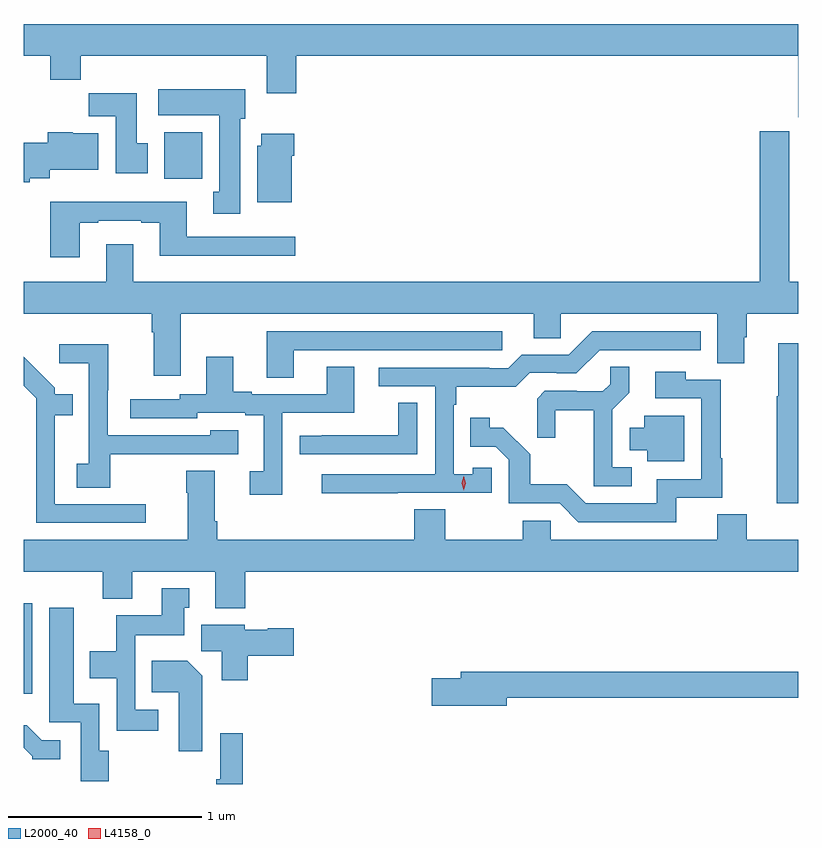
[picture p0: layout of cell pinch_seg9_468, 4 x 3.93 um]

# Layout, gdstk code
import gdstk
lib = gdstk.Library(unit=1e-6, precision=1e-09)
def R(c, l, rs):  # rectangles x0, y0, x1, y1
    for r in rs: c.add(gdstk.rectangle(r[:2], r[2:], *l))
def P(c, l, *ps):  # polygons
    for p in ps: c.add(gdstk.Polygon(p, *l))
L2000_40 = (2000, 40)
L4158_0 = (4158, 0)

pinch_seg9_468 = lib.new_cell('pinch_seg9_468')
R(pinch_seg9_468, L2000_40, [(375.683,1189.128,375.727,1189.597), (376.409,1191.788,376.606,1192.03)])
P(pinch_seg9_468, L2000_40, [(379.683,1192.588),(375.683,1192.588),(375.683,1192.424),(375.821,1192.424),(375.821,1192.3),(375.977,1192.3),(375.977,1192.424),(376.937,1192.424),(376.937,1192.23),(377.09,1192.23),(377.09,1192.424),(379.682,1192.424),(379.682,1192.107),(379.683,1192.107)],
  [(376.801,1192.098),(376.828,1192.098),(376.828,1192.252),(376.377,1192.252),(376.377,1192.118),(376.694,1192.118),(376.694,1191.722),(376.661,1191.722),(376.661,1191.609),(376.801,1191.609)],
  [(376.324,1191.972),(376.267,1191.972),(376.267,1192.231),(376.018,1192.231),(376.018,1192.112),(376.157,1192.112),(376.157,1191.816),(376.324,1191.816)],
  [(376.495,1191.092),(378.317,1191.092),(378.317,1190.965),(378.456,1190.965),(378.456,1191.092),(379.265,1191.092),(379.265,1190.836),(379.405,1190.836),(379.405,1190.97),(379.418,1190.97),(379.418,1191.092),(379.683,1191.092),(379.683,1191.256),(379.636,1191.256),(379.636,1192.035),(379.484,1192.035),(379.484,1191.256),(376.249,1191.256),(376.249,1191.451),(376.109,1191.451),(376.109,1191.256),(375.683,1191.256),(375.683,1191.092),(376.343,1191.092),(376.343,1190.996),(376.355,1190.996),(376.355,1190.772),(376.495,1190.772)],
  [(375.713,1191.791),(375.817,1191.791),(375.817,1191.836),(376.069,1191.836),(376.069,1192.024),(375.936,1192.024),(375.936,1192.03),(375.806,1192.03),(375.806,1191.976),(375.683,1191.976),(375.683,1191.772),(375.713,1191.772)],
  [(377.068,1191.908),(377.081,1191.908),(377.081,1192.021),(376.91,1192.021),(376.91,1191.96),(376.889,1191.96),(376.889,1191.668),(377.068,1191.668)],
  [(375.973,1191.561),(376.069,1191.561),(376.069,1191.573),(376.289,1191.573),(376.289,1191.561),(376.385,1191.561),(376.385,1191.392),(377.086,1191.392),(377.086,1191.489),(376.525,1191.489),(376.525,1191.67),(375.821,1191.67),(375.821,1191.384),(375.973,1191.384)],
  [(377.615,1190.166),(378.099,1190.166),(378.099,1190.295),(378.003,1190.295),(378.003,1190.263),(377.904,1190.263),(377.904,1190.621),(377.917,1190.621),(377.917,1190.714),(378.224,1190.714),(378.297,1190.787),(378.436,1190.787),(378.436,1190.784),(378.537,1190.784),(378.657,1190.904),(379.18,1190.904),(379.18,1191),(378.618,1191),(378.498,1190.88),(378.255,1190.88),(378.186,1190.811),(378.086,1190.811),(378.086,1190.814),(377.517,1190.814),(377.517,1190.718),(377.808,1190.718),(377.808,1190.262),(377.223,1190.262),(377.223,1190.164),(377.615,1190.164)],
  [(377.077,1190.904),(378.154,1190.904),(378.154,1191),(376.937,1191),(376.937,1190.761),(377.077,1190.761)],
  [(379.683,1190.938),(379.58,1190.938),(379.58,1190.665),(379.573,1190.665),(379.573,1190.112),(379.683,1190.112)],
  [(376.129,1190.365),(376.433,1190.365),(376.433,1190.367),(376.792,1190.367),(376.792,1190.491),(376.647,1190.491),(376.647,1190.463),(376.116,1190.463),(376.116,1190.696),(376.119,1190.696),(376.119,1190.935),(375.867,1190.935),(375.867,1190.837),(376.02,1190.837),(376.02,1190.316),(375.957,1190.316),(375.957,1190.194),(376.129,1190.194)],
  [(377.019,1190.58),(377.389,1190.58),(377.389,1190.819),(377.249,1190.819),(377.249,1190.676),(376.861,1190.676),(376.861,1190.689),(376.765,1190.689),(376.765,1190.869),(376.625,1190.869),(376.625,1190.676),(376.488,1190.676),(376.488,1190.649),(376.233,1190.649),(376.233,1190.553),(376.578,1190.553),(376.578,1190.58),(376.826,1190.58),(376.826,1190.568),(376.922,1190.568),(376.922,1190.277),(376.851,1190.277),(376.851,1190.157),(377.019,1190.157)],
  [(376.312,1190.109),(375.844,1190.109),(375.844,1190.568),(375.935,1190.568),(375.935,1190.677),(375.843,1190.677),(375.843,1190.709),(375.683,1190.869),(375.683,1190.719),(375.747,1190.655),(375.747,1190.013),(376.312,1190.013)],
  [(378.823,1190.298),(378.723,1190.298),(378.723,1190.597),(378.809,1190.683),(378.809,1190.819),(378.711,1190.819),(378.711,1190.728),(378.674,1190.691),(378.54,1190.691),(378.54,1190.694),(378.375,1190.694),(378.334,1190.653),(378.334,1190.451),(378.428,1190.451),(378.428,1190.594),(378.626,1190.594),(378.626,1190.202),(378.823,1190.202)],
  [(379.052,1190.142),(379.291,1190.142),(379.291,1190.345),(379.283,1190.345),(379.283,1190.751),(379.101,1190.751),(379.101,1190.791),(378.945,1190.791),(378.945,1190.655),(379.182,1190.655),(379.182,1190.238),(378.953,1190.238),(378.953,1190.112),(378.585,1190.112),(378.487,1190.211),(378.298,1190.211),(378.298,1190.366),(378.16,1190.504),(378.09,1190.504),(378.09,1190.554),(377.989,1190.554),(377.989,1190.406),(378.12,1190.406),(378.189,1190.337),(378.189,1190.112),(378.45,1190.112),(378.546,1190.016),(379.052,1190.016)],
  [(377.715,1190.633),(377.617,1190.633),(377.617,1190.463),(377.221,1190.463),(377.221,1190.462),(377.109,1190.462),(377.109,1190.367),(377.715,1190.367)],
  [(379.093,1190.566),(378.887,1190.566),(378.887,1190.503),(378.812,1190.503),(378.812,1190.387),(378.902,1190.387),(378.902,1190.33),(379.093,1190.33)],
  [(376.826,1189.76),(379.683,1189.76),(379.683,1189.924),(379.418,1189.924),(379.418,1190.057),(379.265,1190.057),(379.265,1189.924),(378.405,1189.924),(378.405,1190.022),(378.259,1190.022),(378.259,1189.924),(377.859,1189.924),(377.859,1190.081),(377.699,1190.081),(377.699,1189.924),(376.682,1189.924),(376.682,1190.02),(376.669,1190.02),(376.669,1190.281),(376.522,1190.281),(376.522,1190.168),(376.529,1190.168),(376.529,1189.924),(375.683,1189.924),(375.683,1189.76),(376.091,1189.76),(376.091,1189.619),(376.243,1189.619),(376.243,1189.76),(376.673,1189.76),(376.673,1189.571),(376.826,1189.571)],
  [(376.378,1189.047),(376.26,1189.047),(376.26,1189.43),(376.513,1189.43),(376.513,1189.572),(376.537,1189.572),(376.537,1189.675),(376.397,1189.675),(376.397,1189.534),(376.162,1189.534),(376.162,1189.348),(376.025,1189.348),(376.025,1189.208),(376.164,1189.208),(376.164,1188.939),(376.378,1188.939)],
  [(376.122,1188.834),(376.074,1188.834),(376.074,1189.078),(375.94,1189.078),(375.94,1189.573),(375.815,1189.573),(375.815,1188.981),(375.978,1188.981),(375.978,1188.678),(376.122,1188.678)],
  [(376.841,1189.325),(377.077,1189.325),(377.077,1189.467),(376.944,1189.467),(376.944,1189.459),(376.824,1189.459),(376.824,1189.486),(376.601,1189.486),(376.601,1189.348),(376.706,1189.348),(376.706,1189.2),(376.841,1189.2)],
  [(376.606,1189.222),(376.528,1189.3),(376.345,1189.3),(376.345,1189.136),(376.484,1189.136),(376.484,1188.831),(376.606,1188.831)],
  [(378.178,1189.108),(379.683,1189.108),(379.683,1189.244),(377.939,1189.244),(377.939,1189.208),(377.79,1189.208),(377.79,1189.066),(378.178,1189.066)],
  [(375.871,1188.888),(375.777,1188.888),(375.699,1188.967),(375.683,1188.967),(375.683,1188.849),(375.726,1188.806),(375.726,1188.791),(375.871,1188.791)],
  [(376.814,1188.925),(376.698,1188.925),(376.698,1188.688),(376.678,1188.688),(376.678,1188.663),(376.814,1188.663)])
P(pinch_seg9_468, L4158_0, [(377.955,1190.181),(377.955,1190.182),(377.945,1190.217),(377.955,1190.253),(377.955,1190.253),(377.955,1190.253),(377.965,1190.217),(377.955,1190.182)])

lib.write_gds('pinch_seg9_468.gds')
